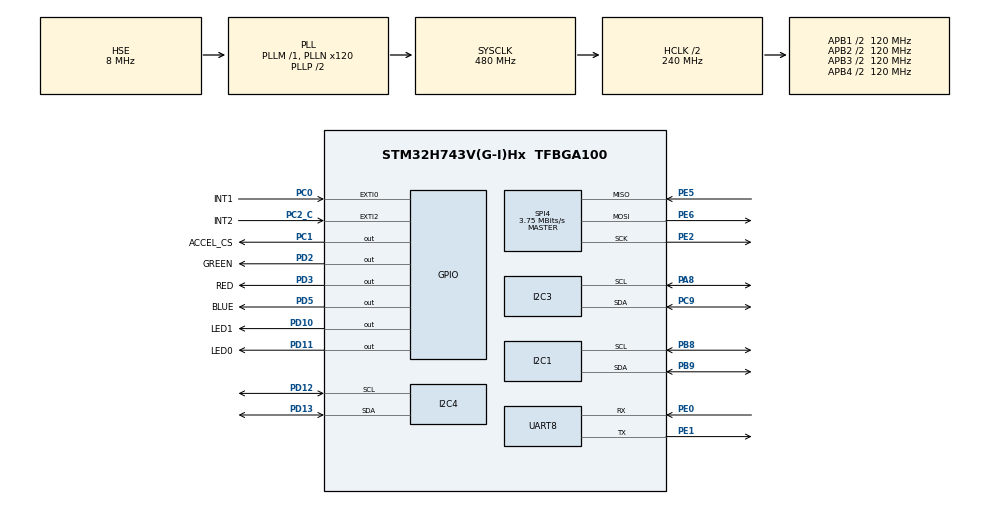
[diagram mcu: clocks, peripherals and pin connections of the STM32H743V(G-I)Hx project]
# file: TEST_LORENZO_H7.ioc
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CORTEX_M7.default_mode_Activation=1
Dma.Request0=UART8_RX
Dma.UART8_RX.0.Direction=DMA_PERIPH_TO_MEMORY
Dma.UART8_RX.0.EventEnable=DISABLE
Dma.UART8_RX.0.FIFOMode=DMA_FIFOMODE_DISABLE
Dma.UART8_RX.0.Instance=DMA1_Stream0
Dma.UART8_RX.0.MemDataAlignment=DMA_MDATAALIGN_BYTE
Dma.UART8_RX.0.MemInc=DMA_MINC_ENABLE
Dma.UART8_RX.0.Mode=DMA_CIRCULAR
Dma.UART8_RX.0.PeriphDataAlignment=DMA_PDATAALIGN_BYTE
Dma.UART8_RX.0.PeriphInc=DMA_PINC_DISABLE
Dma.UART8_RX.0.Polarity=HAL_DMAMUX_REQ_GEN_RISING
Dma.UART8_RX.0.Priority=DMA_PRIORITY_LOW
Dma.UART8_RX.0.RequestNumber=1
Dma.UART8_RX.0.SignalID=NONE
Dma.UART8_RX.0.SyncEnable=DISABLE
Dma.UART8_RX.0.SyncPolarity=HAL_DMAMUX_SYNC_NO_EVENT
Dma.UART8_RX.0.SyncRequestNumber=1
Dma.UART8_RX.0.SyncSignalID=NONE
FREERTOS.INCLUDE_uxTaskGetStackHighWaterMark2=1
FREERTOS.Tasks01=maintask,0,256,Startmaintask,Default,NULL,Dynamic,NULL,NULL;lidarparse,-3,500,Startlidarparse,Default,NULL,Dynamic,NULL,NULL;TofTask,-3,128,StartTofTask,Default,NULL,Dynamic,NULL,NULL;Control,-3,128,StartControlTask,Default,NULL,Dynamic,NULL,NULL
FREERTOS.configUSE_NEWLIB_REENTRANT=1
I2C1.Timing=0x307075B1
I2C3.Timing=0x307075B1
I2C4.Timing=0x307075B1
Mcu.Family=STM32H7
Mcu.Name=STM32H743V(G-I)Hx
Mcu.Package=TFBGA100
NVIC.DMA1_Stream0_IRQn=true\:5\:0\:false\:false\:true\:true\:false\:true\:true
NVIC.EXTI0_IRQn=true\:5\:0\:false\:false\:true\:true\:true\:true\:true
NVIC.EXTI2_IRQn=true\:5\:0\:false\:false\:true\:true\:true\:true\:true
NVIC.PriorityGroup=NVIC_PRIORITYGROUP_4
NVIC.TIM1_UP_IRQn=true\:15\:0\:false\:false\:true\:false\:false\:true\:true
NVIC.TimeBase=TIM1_UP_IRQn
NVIC.TimeBaseIP=TIM1
PA13\ (JTMS/SWDIO).Mode=Serial_Wire
PA13\ (JTMS/SWDIO).Signal=DEBUG_JTMS-SWDIO
PA14\ (JTCK/SWCLK).Mode=Serial_Wire
PA14\ (JTCK/SWCLK).Signal=DEBUG_JTCK-SWCLK
PA8.Mode=I2C
PA8.Signal=I2C3_SCL
PB10.GPIO_Pu=GPIO_NOPULL
PB10.Signal=I2C2_SCL
PB11.GPIO_Pu=GPIO_NOPULL
PB11.Signal=I2C2_SDA
PB8.Mode=I2C
PB8.Signal=I2C1_SCL
PB9.Mode=I2C
PB9.Signal=I2C1_SDA
PC0.GPIO_Label=INT1
PC0.GPIO_ModeDefaultEXTI=GPIO_MODE_IT_RISING
PC0.Signal=GPXTI0
PC1.GPIO_Label=ACCEL_CS
PC1.Signal=GPIO_Output
PC2_C.GPIO_Label=INT2
PC2_C.Signal=GPXTI2
PC9.Mode=I2C
PC9.Signal=I2C3_SDA
PD10.GPIO_Label=LED1
PD10.Signal=GPIO_Output
PD11.GPIO_Label=LED0
PD11.Signal=GPIO_Output
PD12.Mode=I2C
PD12.Signal=I2C4_SCL
PD13.Mode=I2C
PD13.Signal=I2C4_SDA
PD2.GPIO_Label=GREEN
PD2.Signal=GPIO_Output
PD3.GPIO_Label=RED
PD3.Signal=GPIO_Output
PD5.GPIO_Label=BLUE
PD5.Signal=GPIO_Output
PE0.Mode=Asynchronous
PE0.Signal=UART8_RX
PE1.Mode=Asynchronous
PE1.Signal=UART8_TX
PE2.Mode=Full_Duplex_Master
PE2.Signal=SPI4_SCK
PE5.Mode=Full_Duplex_Master
PE5.Signal=SPI4_MISO
PE6.Mode=Full_Duplex_Master
PE6.Signal=SPI4_MOSI
PH0-OSC_IN\ (PH0).Mode=HSE-External-Oscillator
PH0-OSC_IN\ (PH0).Signal=RCC_OSC_IN
PH1-OSC_OUT\ (PH1).Mode=HSE-External-Oscillator
PH1-OSC_OUT\ (PH1).Signal=RCC_OSC_OUT
ProjectManager.HeapSize=0x200
ProjectManager.StackSize=0x400
ProjectManager.TargetToolchain=STM32CubeIDE
RCC.ADCFreq_Value=75000000
RCC.APB1Freq_Value=120000000
RCC.APB2Freq_Value=120000000
RCC.APB3Freq_Value=120000000
RCC.APB4Freq_Value=120000000
RCC.CortexFreq_Value=480000000
RCC.D1PPRE=RCC_APB3_DIV2
RCC.D2PPRE1=RCC_APB1_DIV2
RCC.D2PPRE2=RCC_APB2_DIV2
RCC.D3PPRE=RCC_APB4_DIV2
RCC.DIVM1=1
RCC.DIVM2=8
RCC.DIVM3=2
RCC.DIVN1=120
RCC.DIVN2=150
RCC.DIVN3=130
RCC.DIVP3=10
RCC.HCLKFreq_Value=240000000
RCC.HPRE=RCC_HCLK_DIV2
RCC.HSE_VALUE=8000000
RCC.PLL2FRACN=0
RCC.PLL3FRACN=0
RCC.PLLFRACN=0
RCC.PLLSourceVirtual=RCC_PLLSOURCE_HSE
RCC.SAI23CLockSelection=RCC_SAI23CLKSOURCE_PLL2
RCC.SPI123CLockSelection=RCC_SPI123CLKSOURCE_PLL3
RCC.SYSCLKFreq_VALUE=480000000
RCC.SYSCLKSource=RCC_SYSCLKSOURCE_PLLCLK
RCC.USBCLockSelection=RCC_USBCLKSOURCE_HSI48
RCC.USBFreq_Value=48000000
SPI4.BaudRatePrescaler=SPI_BAUDRATEPRESCALER_32
SPI4.CLKPhase=SPI_PHASE_2EDGE
SPI4.CLKPolarity=SPI_POLARITY_HIGH
SPI4.CalculateBaudRate=3.75 MBits/s
SPI4.DataSize=SPI_DATASIZE_8BIT
SPI4.Direction=SPI_DIRECTION_2LINES
SPI4.Mode=SPI_MODE_MASTER
SPI4.VirtualType=VM_MASTER
VP_FREERTOS_VS_CMSIS_V1.Mode=CMSIS_V1
VP_MEMORYMAP_VS_MEMORYMAP.Mode=CurAppReg
VP_SYS_VS_tim1.Mode=TIM1
board=custom

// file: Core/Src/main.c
/* USER CODE BEGIN Header */
/**
 ******************************************************************************
 * @file           : main.c
 * @brief          : Main program body
 ******************************************************************************
 * @attention
 *
 * Copyright (c) 2025 STMicroelectronics.
 * All rights reserved.
 *
 * This software is licensed under terms that can be found in the LICENSE file
 * in the root directory of this software component.
 * If no LICENSE file comes with this software, it is provided AS-IS.
 *
 ******************************************************************************
 */
/* USER CODE END Header */
#include "main.h"
#include "cmsis_os.h"
#include "dma.h"
#include "i2c.h"
#include "spi.h"
#include "usart.h"
#include "gpio.h"
#include "LidarTracking.h"
#include "stm32h7xx.h"

/* USER CODE BEGIN PV */
extern LiDARParsing_t laserscan;
//adxl343_t adxldata;
//int flag=0;

/* USER CODE END PV */

void SystemClock_Config(void);
static void MPU_Config(void);
void MX_FREERTOS_Init(void);

/* USER CODE BEGIN 0 */

//HAL_GPIO_EXTI_Callback(uint16_t GPIO_Pin){
//
//	if(GPIO_Pin == GPIO_PIN_0){
//
//		if(flag == 0 ){
//			HAL_GPIO_WritePin(GPIOD,GPIO_PIN_3,1);
//			HAL_GPIO_WritePin(GPIOD,GPIO_PIN_2,0);
//			HAL_GPIO_WritePin(GPIOD,GPIO_PIN_5,0);
//
//		}
//		if(flag == 1){
//
//			HAL_GPIO_WritePin(GPIOD,GPIO_PIN_3,0);
//			HAL_GPIO_WritePin(GPIOD,GPIO_PIN_2,1);
//			HAL_GPIO_WritePin(GPIOD,GPIO_PIN_5,0);
//
//		}
//
//		flag=1-flag;
//
//		ADXL343_INT_HANDLER(&adxldata, 100);
//
//	}
//
//}

/* USER CODE END 0 */

int main(void)
{

	/* MPU Configuration--------------------------------------------------------*/
	MPU_Config();

	/* MCU Configuration--------------------------------------------------------*/

	/* Reset of all peripherals, Initializes the Flash interface and the Systick. */
	HAL_Init();

	/* USER CODE BEGIN Init */
	// Enable TRC (Trace Control)
	CoreDebug->DEMCR |= CoreDebug_DEMCR_TRCENA_Msk;
	// Reset cycle counter
	DWT->CYCCNT = 0;
	// Enable cycle counter
	DWT->CTRL |= DWT_CTRL_CYCCNTENA_Msk;
	/* USER CODE END Init */

	/* Configure the system clock */
	SystemClock_Config();

	/* Initialize all configured peripherals */
	MX_GPIO_Init();
	MX_DMA_Init();
	MX_SPI4_Init();
	MX_UART8_Init();
	MX_I2C1_Init();
	MX_I2C3_Init();
	MX_I2C4_Init();
	/* USER CODE BEGIN 2 */

	HAL_UART_Abort(&huart8);
	HAL_UART_Receive_DMA(&huart8, (uint8_t *)laserscan.ylidar_circular_buffer, YLIDAR_CIRC_BUF_SIZE);
	__HAL_DMA_ENABLE_IT(huart8.hdmarx,DMA_IT_HT);

	//ADXL343_Init(&adxldata, &hspi4, ACCEL_CS_GPIO_Port, ACCEL_CS_Pin,ADXL343_BW_RATE_VALUE, ADXL343_DATA_FMT_RANGE_4G,100);

	//	ssd1306_Init();
	//	ssd1306_Fill(White);
	//	ssd1306_SetCursor(32,32);
	//	ssd1306_UpdateScreen();

	/* USER CODE END 2 */

	/* Call init function for freertos objects (in cmsis_os2.c) */
	MX_FREERTOS_Init();

	/* Start scheduler */
	osKernelStart();

	/* We should never get here as control is now taken by the scheduler */

	/* Infinite loop */
	while (1)
	{

	}
}

void SystemClock_Config(void)
{
	RCC_OscInitTypeDef RCC_OscInitStruct = {0};
	RCC_ClkInitTypeDef RCC_ClkInitStruct = {0};

	/** Supply configuration update enable
	 */
	HAL_PWREx_ConfigSupply(PWR_LDO_SUPPLY);

	/** Configure the main internal regulator output voltage
	 */
	__HAL_PWR_VOLTAGESCALING_CONFIG(PWR_REGULATOR_VOLTAGE_SCALE0);

	while(!__HAL_PWR_GET_FLAG(PWR_FLAG_VOSRDY)) {}

	/** Initializes the RCC Oscillators according to the specified parameters
	 * in the RCC_OscInitTypeDef structure.
	 */
	RCC_OscInitStruct.OscillatorType = RCC_OSCILLATORTYPE_HSE;
	RCC_OscInitStruct.HSEState = RCC_HSE_ON;
	RCC_OscInitStruct.PLL.PLLState = RCC_PLL_ON;
	RCC_OscInitStruct.PLL.PLLSource = RCC_PLLSOURCE_HSE;
	RCC_OscInitStruct.PLL.PLLM = 1;
	RCC_OscInitStruct.PLL.PLLN = 120;
	RCC_OscInitStruct.PLL.PLLP = 2;
	RCC_OscInitStruct.PLL.PLLQ = 2;
	RCC_OscInitStruct.PLL.PLLR = 2;
	RCC_OscInitStruct.PLL.PLLRGE = RCC_PLL1VCIRANGE_3;
	RCC_OscInitStruct.PLL.PLLVCOSEL = RCC_PLL1VCOWIDE;
	RCC_OscInitStruct.PLL.PLLFRACN = 0;
	if (HAL_RCC_OscConfig(&RCC_OscInitStruct) != HAL_OK)
	{
		Error_Handler();
	}

	/** Initializes the CPU, AHB and APB buses clocks
	 */
	RCC_ClkInitStruct.ClockType = RCC_CLOCKTYPE_HCLK|RCC_CLOCKTYPE_SYSCLK
			|RCC_CLOCKTYPE_PCLK1|RCC_CLOCKTYPE_PCLK2
			|RCC_CLOCKTYPE_D3PCLK1|RCC_CLOCKTYPE_D1PCLK1;
	RCC_ClkInitStruct.SYSCLKSource = RCC_SYSCLKSOURCE_PLLCLK;
	RCC_ClkInitStruct.SYSCLKDivider = RCC_SYSCLK_DIV1;
	RCC_ClkInitStruct.AHBCLKDivider = RCC_HCLK_DIV2;
	RCC_ClkInitStruct.APB3CLKDivider = RCC_APB3_DIV2;
	RCC_ClkInitStruct.APB1CLKDivider = RCC_APB1_DIV2;
	RCC_ClkInitStruct.APB2CLKDivider = RCC_APB2_DIV2;
	RCC_ClkInitStruct.APB4CLKDivider = RCC_APB4_DIV2;

	if (HAL_RCC_ClockConfig(&RCC_ClkInitStruct, FLASH_LATENCY_4) != HAL_OK)
	{
		Error_Handler();
	}
}

/* MPU Configuration */

void MPU_Config(void)
{
	MPU_Region_InitTypeDef MPU_InitStruct = {0};

	/* Disables the MPU */
	HAL_MPU_Disable();

	/** Initializes and configures the Region and the memory to be protected
	 */
	MPU_InitStruct.Enable = MPU_REGION_ENABLE;
	MPU_InitStruct.Number = MPU_REGION_NUMBER0;
	MPU_InitStruct.BaseAddress = 0x0;
	MPU_InitStruct.Size = MPU_REGION_SIZE_4GB;
	MPU_InitStruct.SubRegionDisable = 0x87;
	MPU_InitStruct.TypeExtField = MPU_TEX_LEVEL0;
	MPU_InitStruct.AccessPermission = MPU_REGION_NO_ACCESS;
	MPU_InitStruct.DisableExec = MPU_INSTRUCTION_ACCESS_DISABLE;
	MPU_InitStruct.IsShareable = MPU_ACCESS_SHAREABLE;
	MPU_InitStruct.IsCacheable = MPU_ACCESS_NOT_CACHEABLE;
	MPU_InitStruct.IsBufferable = MPU_ACCESS_NOT_BUFFERABLE;

	HAL_MPU_ConfigRegion(&MPU_InitStruct);
	/* Enables the MPU */
	HAL_MPU_Enable(MPU_PRIVILEGED_DEFAULT);

}

void HAL_TIM_PeriodElapsedCallback(TIM_HandleTypeDef *htim)
{
	if (htim->Instance == TIM1)
	{
		HAL_IncTick();
	}
}

void Error_Handler(void)
{
	__disable_irq();
	while (1)
	{
	}
}

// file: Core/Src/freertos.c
/* USER CODE BEGIN Header */
/**
 ******************************************************************************
 * File Name          : freertos.c
 * Description        : Code for freertos applications
 ******************************************************************************
 * @attention
 *
 * Copyright (c) 2025 STMicroelectronics.
 * All rights reserved.
 *
 * This software is licensed under terms that can be found in the LICENSE file
 * in the root directory of this software component.
 * If no LICENSE file comes with this software, it is provided AS-IS.
 *
 ******************************************************************************
 */
/* USER CODE END Header */

#include "FreeRTOS.h"
#include "task.h"
#include "main.h"
#include "cmsis_os.h"
#include "odometry.h"
#include "control.h"
#include "vl53l0x.h"
#include "cat.h"

/* USER CODE BEGIN Variables */

extern LiDARParsing_t laserscan;

//extern adxl343_t adxldata;

extern I2C_HandleTypeDef hi2c1;
extern I2C_HandleTypeDef hi2c3;
extern I2C_HandleTypeDef hi2c4;

extern Cat_t cat;

/* USER CODE END Variables */
osThreadId maintaskHandle;
osThreadId lidarparseHandle;
osThreadId TofTaskHandle;
osThreadId ControlHandle;

void Startmaintask(void const * argument);
void Startlidarparse(void const * argument);
void StartTofTask(void const * argument);
void StartControlTask(void const * argument);

void MX_FREERTOS_Init(void); /* (MISRA C 2004 rule 8.1) */

/* GetIdleTaskMemory prototype (linked to static allocation support) */
void vApplicationGetIdleTaskMemory( StaticTask_t **ppxIdleTaskTCBBuffer, StackType_t **ppxIdleTaskStackBuffer, uint32_t *pulIdleTaskStackSize );

/* USER CODE BEGIN GET_IDLE_TASK_MEMORY */
static StaticTask_t xIdleTaskTCBBuffer;
static StackType_t xIdleStack[configMINIMAL_STACK_SIZE];

void vApplicationGetIdleTaskMemory( StaticTask_t **ppxIdleTaskTCBBuffer, StackType_t **ppxIdleTaskStackBuffer, uint32_t *pulIdleTaskStackSize )
{
	*ppxIdleTaskTCBBuffer = &xIdleTaskTCBBuffer;
	*ppxIdleTaskStackBuffer = &xIdleStack[0];
	*pulIdleTaskStackSize = configMINIMAL_STACK_SIZE;
	/* place for user code */
}
/* USER CODE END GET_IDLE_TASK_MEMORY */

void MX_FREERTOS_Init(void) {

  /* Create the thread(s) */
  /* definition and creation of maintask */
  osThreadDef(maintask, Startmaintask, osPriorityNormal, 0, 256);
  maintaskHandle = osThreadCreate(osThread(maintask), NULL);

  /* definition and creation of lidarparse */
  osThreadDef(lidarparse, Startlidarparse, osPriorityIdle, 0, 500);
  lidarparseHandle = osThreadCreate(osThread(lidarparse), NULL);

  /* definition and creation of TofTask */
  osThreadDef(TofTask, StartTofTask, osPriorityIdle, 0, 128);
  TofTaskHandle = osThreadCreate(osThread(TofTask), NULL);

  /* definition and creation of Control */
  osThreadDef(Control, StartControlTask, osPriorityIdle, 0, 128);
  ControlHandle = osThreadCreate(osThread(Control), NULL);

}

void Startmaintask(void const * argument)
{
  /* USER CODE BEGIN Startmaintask */
	/* Infinite loop */
	for(;;)
	{
		osDelay(500);
	}
  /* USER CODE END Startmaintask */
}

void Startlidarparse(void const * argument)
{
  /* USER CODE BEGIN Startlidarparse */

	/* Infinite loop */
	for(;;)
	{

		osDelay(50);
	}
  /* USER CODE END Startlidarparse */
}

void StartTofTask(void const * argument)
{
  /* USER CODE BEGIN StartTofTask */

	VL53L0X_t *t1 = VL53L0X_GetHandle(1);
	VL53L0X_t *t2 = VL53L0X_GetHandle(2);
	VL53L0X_t *t3 = VL53L0X_GetHandle(3);

	/* Infinite loop */
	for(;;)
	{
		VL53L0X_Update(t1);
		VL53L0X_Update(t2);
		VL53L0X_Update(t3);
		osDelay(100);
	}
  /* USER CODE END StartTofTask */
}

void StartControlTask(void const * argument)
{
  /* USER CODE BEGIN StartControlTask */
	odometry_Init();
  /* Infinite loop */
  for(;;)
  {
	  attack();
	  compute_speed(cat.target_bearing, 0, 0, 0); // mettre vitesses moteurs
	  control_rotation_speed();
    osDelay(1);
  }
  /* USER CODE END StartControlTask */
}
